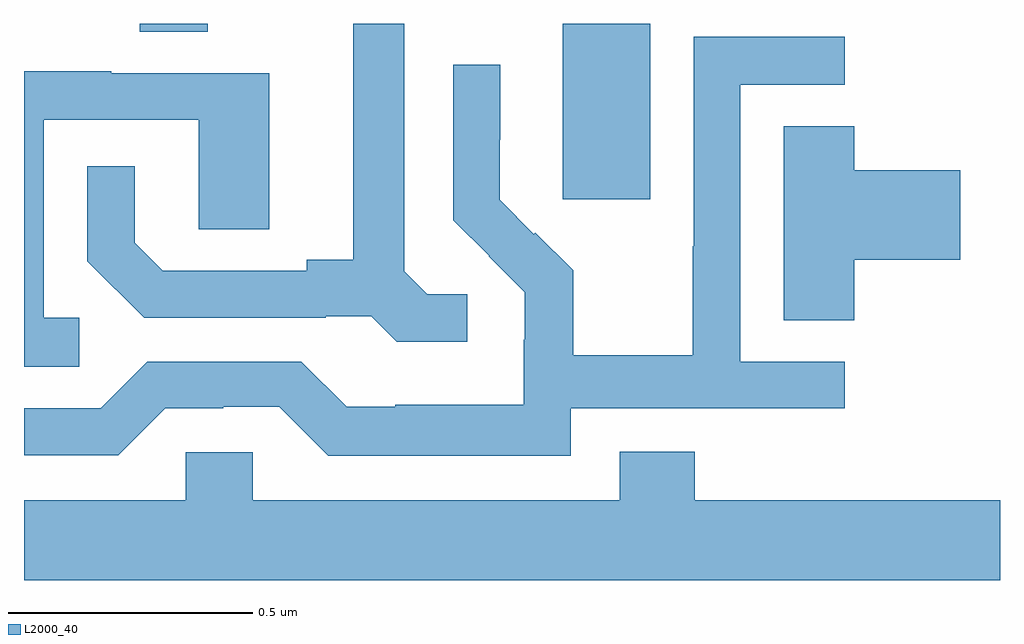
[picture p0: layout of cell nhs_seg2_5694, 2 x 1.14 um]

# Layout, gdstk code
import gdstk
lib = gdstk.Library(unit=1e-6, precision=1e-09)
def R(c, l, rs):  # rectangles x0, y0, x1, y1
    for r in rs: c.add(gdstk.rectangle(r[:2], r[2:], *l))
def P(c, l, *ps):  # polygons
    for p in ps: c.add(gdstk.Polygon(p, *l))
L2000_40 = (2000, 40)

nhs_seg2_5694 = lib.new_cell('nhs_seg2_5694')
R(nhs_seg2_5694, L2000_40, [(183.104,624.441,183.283,624.8), (182.237,624.784,182.377,624.8)])
P(nhs_seg2_5694, L2000_40, [(182.908,624.246),(182.826,624.246),(182.779,624.293),(182.779,624.8),(182.675,624.8),(182.675,624.317),(182.579,624.317),(182.579,624.294),(182.284,624.294),(182.227,624.351),(182.227,624.508),(182.13,624.508),(182.13,624.314),(182.246,624.198),(182.618,624.198),(182.618,624.201),(182.712,624.201),(182.764,624.149),(182.908,624.149)],
  [(183.12,624.012),(183.682,624.012),(183.682,624.108),(183.468,624.108),(183.468,624.675),(183.682,624.675),(183.682,624.774),(183.372,624.774),(183.372,624.344),(183.37,624.344),(183.37,624.121),(183.125,624.121),(183.125,624.295),(183.048,624.372),(183.045,624.369),(182.975,624.44),(182.975,624.562),(182.976,624.562),(182.976,624.716),(182.88,624.716),(182.88,624.398),(182.953,624.325),(182.952,624.324),(183.026,624.25),(183.026,624.153),(183.024,624.153),(183.024,624.019),(182.761,624.019),(182.761,624.015),(182.661,624.015),(182.568,624.108),(182.253,624.108),(182.157,624.012),(182,624.012),(182,623.916),(182.193,623.916),(182.289,624.012),(182.408,624.012),(182.408,624.015),(182.523,624.015),(182.623,623.915),(183.12,623.915)],
  [(182.113,624.198),(182.04,624.198),(182.04,624.603),(182.358,624.603),(182.358,624.379),(182.503,624.379),(182.503,624.699),(182.179,624.699),(182.179,624.703),(182,624.703),(182,624.097),(182.113,624.097)],
  [(183.701,624.317),(183.919,624.317),(183.919,624.5),(183.701,624.5),(183.701,624.59),(183.557,624.59),(183.557,624.193),(183.701,624.193)],
  [(184,623.824),(183.374,623.824),(183.374,623.923),(183.221,623.923),(183.221,623.824),(182.469,623.824),(182.469,623.922),(182.331,623.922),(182.331,623.824),(182,623.824),(182,623.66),(184,623.66)])

lib.write_gds('nhs_seg2_5694.gds')
